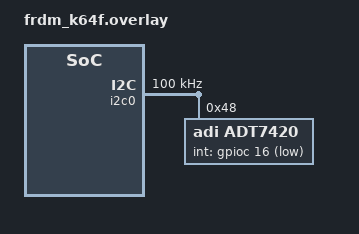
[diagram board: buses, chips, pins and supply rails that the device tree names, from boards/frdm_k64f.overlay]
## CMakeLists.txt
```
# SPDX-License-Identifier: Apache-2.0

cmake_minimum_required(VERSION 3.13.1)
find_package(Zephyr REQUIRED HINTS $ENV{ZEPHYR_BASE})
project(adt7420)

FILE(GLOB app_sources src/*.c)
target_sources(app PRIVATE ${app_sources})
```

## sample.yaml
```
sample:
  name: ADT7420 Sensor Sample
tests:
  sample.sensor.adt7420:
    harness: sensor
    tags: sensors
    platform_allow: frdm_k64f
    depends_on: i2c
```

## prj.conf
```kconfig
CONFIG_STDOUT_CONSOLE=y
CONFIG_I2C=y
CONFIG_SENSOR=y
CONFIG_ADT7420=y
CONFIG_CBPRINTF_FP_SUPPORT=y
```

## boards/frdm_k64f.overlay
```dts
/*
 * Copyright (c) 2019 Linaro Limited
 *
 * SPDX-License-Identifier: Apache-2.0
 */

&i2c0 {
	status = "okay";
	clock-frequency = <I2C_BITRATE_STANDARD>;
	adt7420@48 {
		compatible = "adi,adt7420";
		reg = <0x48>;
		label = "ADT7420";
		int-gpios = <&gpioc 16 GPIO_ACTIVE_LOW>;
	};
};
```

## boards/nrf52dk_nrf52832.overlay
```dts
/*
 * Copyright (c) 2019 Linaro Limited
 *
 * SPDX-License-Identifier: Apache-2.0
 */

&i2c0 { /* SDA P0.26, SCL P0.27, ALERT P0.11 */
	status = "okay";
	clock-frequency = <I2C_BITRATE_STANDARD>;
	adt7420@48 {
		compatible = "adi,adt7420";
		reg = <0x48>;
		label = "ADT7420";
		int-gpios = <&gpio0 11 GPIO_ACTIVE_LOW>;
	};
};
```

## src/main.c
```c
/*
 * Copyright (c) 2018 Analog Devices Inc.
 *
 * SPDX-License-Identifier: Apache-2.0
 */

#include <zephyr.h>
#include <device.h>
#include <drivers/sensor.h>
#include <stdio.h>
#include <sys/__assert.h>

#define DELAY_WITH_TRIGGER K_SECONDS(5)
#define DELAY_WITHOUT_TRIGGER K_SECONDS(1)

#define UCEL_PER_CEL 1000000
#define UCEL_PER_MCEL 1000
#define TEMP_INITIAL_CEL 21
#define TEMP_WINDOW_HALF_UCEL 500000

K_SEM_DEFINE(sem, 0, 1);
static const char *now_str(void)
{
	static char buf[16]; /* ...HH:MM:SS.MMM */
	uint32_t now = k_uptime_get_32();
	unsigned int ms = now % MSEC_PER_SEC;
	unsigned int s;
	unsigned int min;
	unsigned int h;

	now /= MSEC_PER_SEC;
	s = now % 60U;
	now /= 60U;
	min = now % 60U;
	now /= 60U;
	h = now;

	snprintf(buf, sizeof(buf), "%u:%02u:%02u.%03u",
		 h, min, s, ms);
	return buf;
}
static void trigger_handler(const struct device *dev,
			    struct sensor_trigger *trigger)
{
	k_sem_give(&sem);
}

static int low_ucel;
static int high_ucel;

static int sensor_set_attribute(const struct device *dev,
				enum sensor_channel chan,
				enum sensor_attribute attr, int value)
{
	struct sensor_value sensor_val;
	int ret;

	sensor_val.val1 = value / UCEL_PER_CEL;
	sensor_val.val2 = value % UCEL_PER_CEL;

	ret = sensor_attr_set(dev, chan, attr, &sensor_val);
	if (ret) {
		printf("sensor_attr_set failed ret %d\n", ret);
	}

	return ret;
}

static bool temp_in_window(const struct sensor_value *val)
{
	int temp_ucel = val->val1 * UCEL_PER_CEL + val->val2;

	return (temp_ucel >= low_ucel) && (temp_ucel <= high_ucel);
}

static int sensor_set_window(const struct device *dev,
			     const struct sensor_value *val)
{
	int temp_ucel = val->val1 * UCEL_PER_CEL + val->val2;

	low_ucel = temp_ucel - TEMP_WINDOW_HALF_UCEL;
	high_ucel = temp_ucel + TEMP_WINDOW_HALF_UCEL;

	int rc = sensor_set_attribute(dev, SENSOR_CHAN_AMBIENT_TEMP,
				      SENSOR_ATTR_UPPER_THRESH, high_ucel);

	if (rc == 0) {
		sensor_set_attribute(dev, SENSOR_CHAN_AMBIENT_TEMP,
				     SENSOR_ATTR_LOWER_THRESH, low_ucel);
	}

	if (rc == 0) {
		printk("Alert on temp outside [%d, %d] mCel\n",
		       low_ucel / UCEL_PER_MCEL,
		       high_ucel / UCEL_PER_MCEL);
	}

	return rc;
}

static void process(const struct device *dev)
{
	struct sensor_value temp_val;
	int ret;
	bool reset_window = false;

	/* Set upddate rate to 240 mHz */
	sensor_set_attribute(dev, SENSOR_CHAN_AMBIENT_TEMP,
			     SENSOR_ATTR_SAMPLING_FREQUENCY, 240 * 1000);

	if (IS_ENABLED(CONFIG_ADT7420_TRIGGER)) {
		struct sensor_trigger trig = {
			.type = SENSOR_TRIG_THRESHOLD,
			.chan = SENSOR_CHAN_AMBIENT_TEMP,
		};
		struct sensor_value val = {
			.val1 = TEMP_INITIAL_CEL,
		};

		ret = sensor_set_window(dev, &val);
		if (ret == 0) {
			ret = sensor_trigger_set(dev, &trig, trigger_handler);
		}
		if (ret != 0) {
			printf("Could not set trigger\n");
			return;
		}
	}

	while (1) {
		ret = sensor_sample_fetch(dev);
		if (ret) {
			printf("sensor_sample_fetch failed ret %d\n", ret);
			return;
		}

		ret = sensor_channel_get(dev, SENSOR_CHAN_AMBIENT_TEMP,
					 &temp_val);
		if (ret) {
			printf("sensor_channel_get failed ret %d\n", ret);
			return;
		}

		if (IS_ENABLED(CONFIG_ADT7420_TRIGGER)) {
			reset_window |= !temp_in_window(&temp_val);
		}

		printf("[%s]: temperature %.6f Cel%s\n", now_str(),
		       sensor_value_to_double(&temp_val),
		       reset_window ? ": NEED RESET" : "");


		if (IS_ENABLED(CONFIG_ADT7420_TRIGGER)) {
			if (reset_window) {
				ret = sensor_set_window(dev, &temp_val);
			}
			if (ret) {
				printf("Window update failed ret %d\n", ret);
				return;
			}

			printk("Wait for trigger...");
			ret = k_sem_take(&sem, DELAY_WITH_TRIGGER);
			reset_window = (ret == 0);
			printk("%s\n", reset_window ? "ALERTED!" : "timed-out");
		} else {
			k_sleep(DELAY_WITHOUT_TRIGGER);
		}
	}
}

void main(void)
{
	const struct device *dev = device_get_binding(DT_LABEL(DT_INST(0, adi_adt7420)));

	if (dev == NULL) {
		printf("Failed to get device binding\n");
		return;
	}

	printf("device is %p, name is %s\n", dev, dev->name);

	process(dev);
}
```
